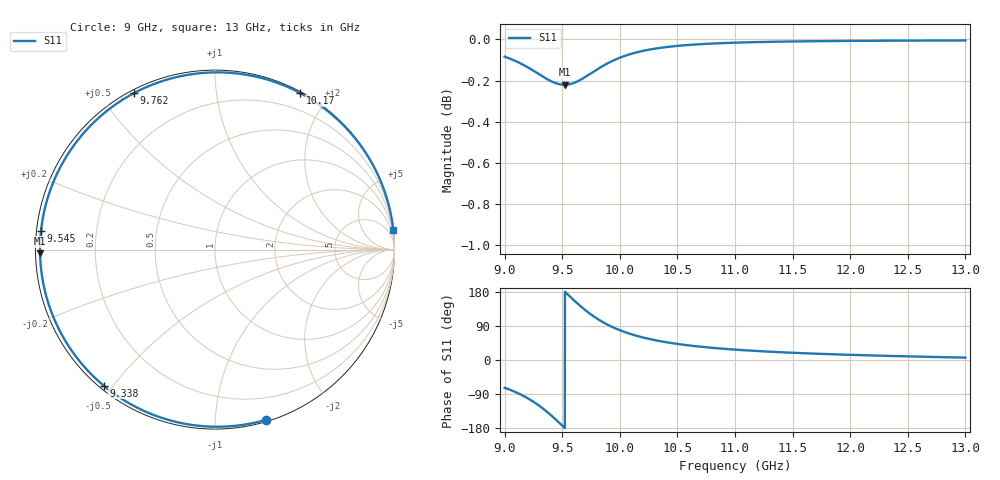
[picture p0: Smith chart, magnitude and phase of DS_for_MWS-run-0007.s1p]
! TOUCHSTONE file generated by CST DESIGN STUDIO
! Date and time: Tue Feb  4 17:50:52 2025
! Project name: C:\Work\MatlabApps\UnitCellOptimizationMatlab\CST\unitcell.cst
! Tree item: Tasks\Sweep1\SPara1\S-Parameters
! Header version: 2024
! Port assignment regex: !\s*Touchstone port\s*([0-9]+)\s*=\s*(CST MWS port|CST DES external port|CST DES block port)\s*(.+)\s* \(\"(.*)\"\)(\s*mode\s*([0-9]+))?.*
! Touchstone port assignment:
! Touchstone port 1 = CST DES external port 1 ("")
# GHz S MA R 50
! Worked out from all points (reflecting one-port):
!   4001 points, 9 GHz to 13 GHz, reference 50 ohm
!   lowest |S11| = -0.2 dB at 9.52 GHz (marker M1), VSWR 78.94, Z = 0.633 - j0.501 ohm
!   phase of S11 starts at -73 deg and turns -281 deg over the sweep
!   S11 on the Smith chart (normalised r, x): 9 GHz: 0.01, -1.35; 9.338 GHz: 0.01, -0.47; 9.545 GHz: 0.01, +0.05; 9.762 GHz: 0.01, +0.61; 10.17 GHz: 0.01, +1.68; 13 GHz: 0, +18
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9  0.9904 -73.2
9.092  0.9881 -84.3
9.197  0.9847 -100.3
9.271  0.9819 -114.4
9.338  0.9792 -129.4
9.382  0.9776 -140.3
9.428  0.9762 -152.6
9.465  0.9754 -163.0
9.5  0.975 -173.0
9.52  0.975 -178.9
9.545  0.9751 173.9
9.599  0.9759 158.4
9.659  0.9777 142.1
9.71  0.9796 129.3
9.762  0.9818 117.5
9.812  0.9838 107.4
9.866  0.9858 97.7
10  0.9899 78.6
10.083  0.9917 69.6
10.173  0.9933 61.6
10.322  0.9951 51.3
10.5  0.9964 42.4
10.722  0.9975 34.4
11  0.9982 27.4
11.5  0.9989 19.1
12  0.9992 13.6
12.5  0.9994 9.5
13  0.9995 6.2
